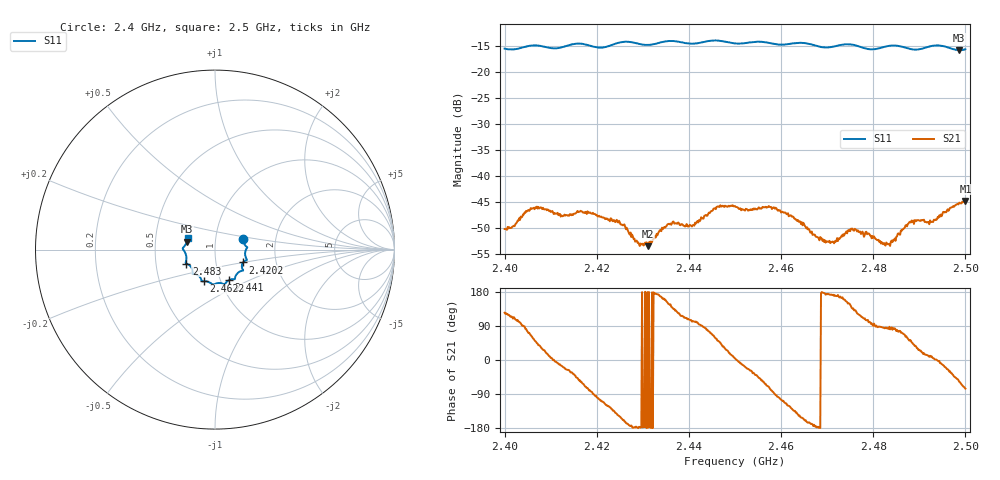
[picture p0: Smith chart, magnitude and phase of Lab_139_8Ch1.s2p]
# Hz S RI R 50
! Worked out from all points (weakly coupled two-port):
!   601 points, 2.4 GHz to 2.5 GHz, reference 50 ohm
!   highest |S21| = -44.84 dB at 2.5 GHz (marker M1); lowest = -53.5 dB at 2.4312 GHz (marker M2)
!   lowest |S11| = -15.8 dB at 2.4987 GHz (marker M3), VSWR 1.39, Z = 36.4 + j3.3 ohm
!   |S11| at or under -10 dB: start of sweep to end of sweep
!   S12 and S22 are empty: the file has one direction only
!   S11 on the Smith chart (normalised r, x): 2.4 GHz: 1.36, +0.17; 2.4202 GHz: 1.35, -0.20; 2.441 GHz: 1.10, -0.39; 2.4622 GHz: 0.83, -0.30; 2.483 GHz: 0.72, -0.12; 2.5 GHz: 0.73, +0.09
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2.4e9  0.1564 0.0605  -0.00176 0.00253  0 0  0 0
2.4065e9  0.1799 0.0127  0.00295 0.00376  0 0  0 0
2.412667e9  0.1699 -0.0377  0.00389 -0.00131  0 0  0 0
2.416667e9  0.1776 -0.0582  0.00246 -0.00385  0 0  0 0
2.420167e9  0.1562 -0.0718  -0.000706 -0.00401  0 0  0 0
2.431167e9  0.1241 -0.1332  -0.00211 -4.93e-05  0 0  0 0
2.433333e9  0.1128 -0.1522  -0.0028 0.000342  0 0  0 0
2.436167e9  0.1103 -0.1652  -0.00262 0.00215  0 0  0 0
2.441e9  0.077 -0.1704  -0.000715 0.0033  0 0  0 0
2.445833e9  0.0521 -0.194  0.00261 0.004  0 0  0 0
2.45e9  0.0267 -0.1863  0.00512 0.000353  0 0  0 0
2.457833e9  -0.0238 -0.1872  0.000885 -0.00494  0 0  0 0
2.462167e9  -0.0629 -0.1763  -0.0025 -0.00332  0 0  0 0
2.466667e9  -0.0765 -0.1669  -0.00285 -0.000586  0 0  0 0
2.471167e9  -0.1074 -0.1378  -0.00231 0.000361  0 0  0 0
2.475667e9  -0.1256 -0.1323  -0.00216 0.00207  0 0  0 0
2.483e9  -0.1589 -0.0778  0.000197 0.00223  0 0  0 0
2.483333e9  -0.1604 -0.0772  0.000304 0.00218  0 0  0 0
2.488167e9  -0.1593 -0.0463  0.00224 0.00277  0 0  0 0
2.4925e9  -0.1771 0.000407  0.00356 0.000546  0 0  0 0
2.498667e9  -0.156 0.0442  0.00299 -0.00465  0 0  0 0
2.5e9  -0.153 0.0627  0.00143 -0.00555  0 0  0 0
